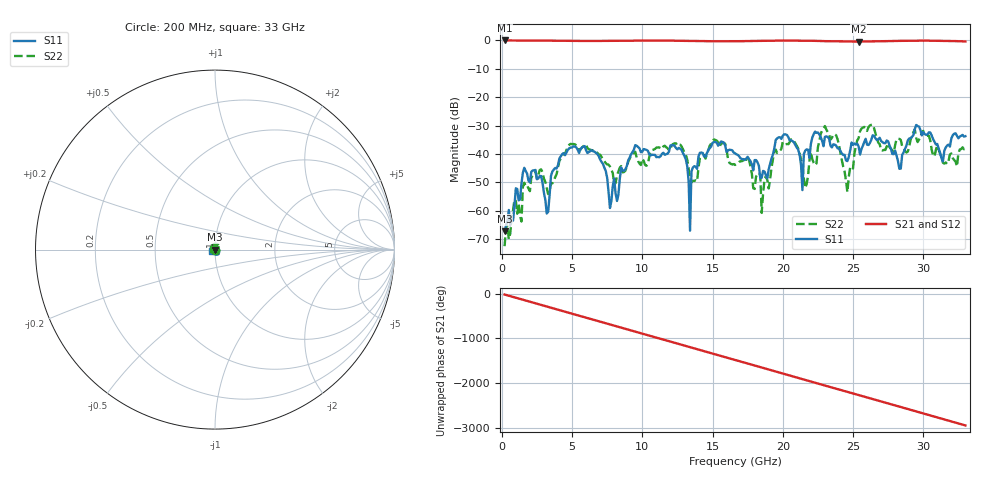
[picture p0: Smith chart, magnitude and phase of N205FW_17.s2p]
# GHZ S RI R 50
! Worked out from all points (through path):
!   329 points, 200 MHz to 33 GHz, reference 50 ohm
!   highest |S21| = -0.01 dB at 200 MHz (marker M1); lowest = -0.4 dB at 25.4 GHz (marker M2)
!   group delay of S21, straight-line fit = 248 ps
!   lowest |S11| = -67.3 dB at 200 MHz (marker M3), VSWR 1.00, Z = 50 - j0.0412 ohm
!   |S11| at or under -10 dB: start of sweep to end of sweep
!   |S22| runs from -72.5 to -29.6 dB; largest |S21 - S12| = 0.0022
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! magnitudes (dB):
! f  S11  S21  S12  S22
! 200 MHz  -67.3  0.0  0.0  -72.5
! 1.6 GHz  -44.9  0.0  0.0  -50.1
! 3.2 GHz  -61.0  -0.1  -0.1  -52.0
! 5.7 GHz  -37.7  -0.2  -0.2  -37.8
! 7.7 GHz  -59.0  -0.2  -0.2  -44.4
! 9.5 GHz  -36.9  -0.1  -0.1  -39.2
! 11.2 GHz  -41.2  -0.1  -0.1  -37.7
! 13 GHz  -40.7  -0.2  -0.2  -39.5
! 13.4 GHz  -67.0  -0.2  -0.2  -49.5
! 13.5 GHz  -46.1  -0.2  -0.2  -50.0
! 14.1 GHz  -39.6  -0.2  -0.2  -41.5
! 16.6 GHz  -39.7  -0.3  -0.3  -43.9
! 18.3 GHz  -44.1  -0.2  -0.2  -46.6
! 18.5 GHz  -48.4  -0.2  -0.2  -60.8
! 20.2 GHz  -33.1  -0.1  -0.1  -36.6
! 21.4 GHz  -52.7  -0.1  -0.1  -43.7
! 22.1 GHz  -34.2  -0.1  -0.1  -41.8
! 23.8 GHz  -37.1  -0.3  -0.3  -33.4
! 24.6 GHz  -42.5  -0.4  -0.4  -53.5
! 25.4 GHz  -37.3  -0.4  -0.4  -34.4
! 27.6 GHz  -37.0  -0.2  -0.2  -37.6
! 33 GHz  -33.7  -0.3  -0.3  -37.5
